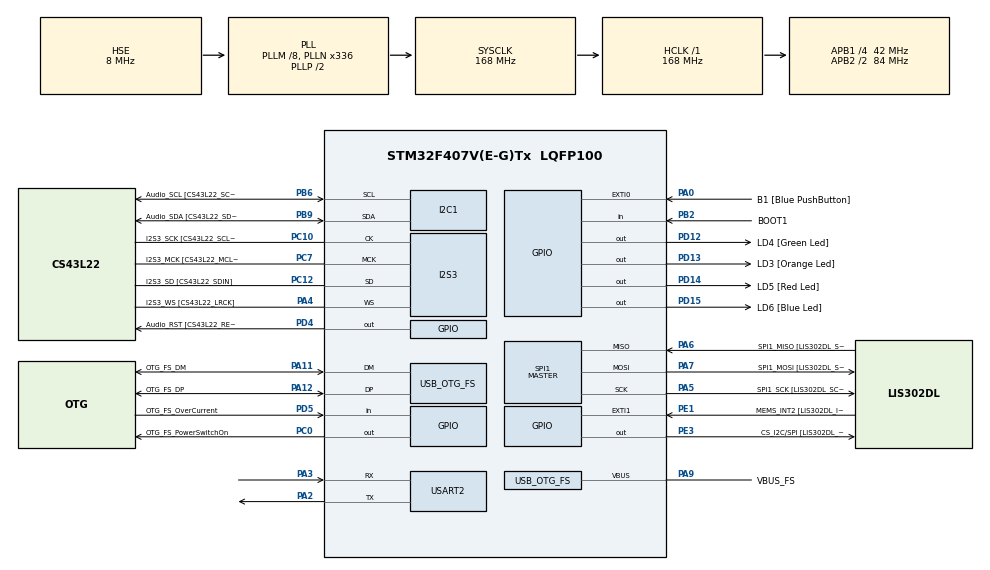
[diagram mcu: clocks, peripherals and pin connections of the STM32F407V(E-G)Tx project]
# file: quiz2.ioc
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FREERTOS.BinarySemaphores01=myBinarySem01,Dynamic,NULL
FREERTOS.Tasks01=defaultTask,0,128,StartDefaultTask,Default,NULL
I2S3.AudioFreq-Half_Duplex_Master=I2S_AUDIOFREQ_96K
I2S3.ErrorAudioFreq=-2.34 %
I2S3.ErrorAudioFreq-Half_Duplex_Master=0.8 %
I2S3.FullDuplexMode=I2S_FULLDUPLEXMODE_DISABLE
I2S3.Instance=SPI$Index
I2S3.RealAudioFreq=93.75 KHz
I2S3.RealAudioFreq-Half_Duplex_Master=96.774 KHz
I2S3.VirtualMode=I2S_MODE_MASTER
Mcu.Family=STM32F4
Mcu.Name=STM32F407V(E-G)Tx
Mcu.Package=LQFP100
NVIC.OTG_FS_IRQn=true\:5\:0\:false\:false\:true\:true\:true\:true
NVIC.PriorityGroup=NVIC_PRIORITYGROUP_4
PA0-WKUP.GPIO_Label=B1 [Blue PushButton]
PA0-WKUP.GPIO_ModeDefaultEXTI=GPIO_MODE_EVT_RISING
PA0-WKUP.GPIO_PuPd=GPIO_NOPULL
PA0-WKUP.Signal=GPXTI0
PA10.GPIO_Label=OTG_FS_ID
PA10.GPIO_Mode=GPIO_MODE_AF_PP
PA10.GPIO_PuPd=GPIO_NOPULL
PA10.GPIO_Speed=GPIO_SPEED_FREQ_LOW
PA10.Signal=USB_OTG_FS_ID
PA11.GPIO_Label=OTG_FS_DM
PA11.GPIO_Mode=GPIO_MODE_AF_PP
PA11.GPIO_PuPd=GPIO_NOPULL
PA11.GPIO_Speed=GPIO_SPEED_FREQ_LOW
PA11.Mode=Host_Only
PA11.Signal=USB_OTG_FS_DM
PA12.GPIO_Label=OTG_FS_DP
PA12.GPIO_Mode=GPIO_MODE_AF_PP
PA12.GPIO_PuPd=GPIO_NOPULL
PA12.GPIO_Speed=GPIO_SPEED_FREQ_LOW
PA12.Mode=Host_Only
PA12.Signal=USB_OTG_FS_DP
PA13.GPIO_Label=SWDIO
PA13.Mode=Serial_Wire
PA13.Signal=SYS_JTMS-SWDIO
PA14.GPIO_Label=SWCLK
PA14.Mode=Serial_Wire
PA14.Signal=SYS_JTCK-SWCLK
PA2.Mode=Asynchronous
PA2.Signal=USART2_TX
PA3.Mode=Asynchronous
PA3.Signal=USART2_RX
PA4.GPIO_Label=I2S3_WS [CS43L22_LRCK]
PA4.GPIO_Mode=GPIO_MODE_AF_PP
PA4.GPIO_PuPd=GPIO_NOPULL
PA4.GPIO_Speed=GPIO_SPEED_FREQ_LOW
PA4.Mode=Half_Duplex_Master
PA4.Signal=I2S3_WS
PA5.GPIO_Label=SPI1_SCK [LIS302DL_SCL/SPC]
PA5.GPIO_Mode=GPIO_MODE_AF_PP
PA5.GPIO_PuPd=GPIO_NOPULL
PA5.GPIO_Speed=GPIO_SPEED_FREQ_LOW
PA5.Mode=Full_Duplex_Master
PA5.Signal=SPI1_SCK
PA6.GPIO_Label=SPI1_MISO [LIS302DL_SDO]
PA6.GPIO_Mode=GPIO_MODE_AF_PP
PA6.GPIO_PuPd=GPIO_NOPULL
PA6.GPIO_Speed=GPIO_SPEED_FREQ_LOW
PA6.Mode=Full_Duplex_Master
PA6.Signal=SPI1_MISO
PA7.GPIO_Label=SPI1_MOSI [LIS302DL_SDA/SDI/SDO]
PA7.GPIO_Mode=GPIO_MODE_AF_PP
PA7.GPIO_PuPd=GPIO_NOPULL
PA7.GPIO_Speed=GPIO_SPEED_FREQ_LOW
PA7.Mode=Full_Duplex_Master
PA7.Signal=SPI1_MOSI
PA9.GPIO_Label=VBUS_FS
PA9.GPIO_Mode=GPIO_MODE_INPUT
PA9.GPIO_PuPd=GPIO_NOPULL
PA9.Mode=Activate_VBUS
PA9.Signal=USB_OTG_FS_VBUS
PB10.GPIO_Label=CLK_IN [MP45DT02_CLK]
PB10.GPIO_Mode=GPIO_MODE_AF_PP
PB10.GPIO_PuPd=GPIO_NOPULL
PB10.GPIO_Speed=GPIO_SPEED_FREQ_LOW
PB10.Signal=I2S2_CK
PB2.GPIO_Label=BOOT1
PB2.GPIO_Mode=GPIO_MODE_INPUT
PB2.GPIO_PuPd=GPIO_NOPULL
PB2.Signal=GPIO_Input
PB3.GPIO_Label=SWO
PB3.Signal=SYS_JTDO-SWO
PB6.GPIO_Label=Audio_SCL [CS43L22_SCL]
PB6.GPIO_Mode=GPIO_MODE_AF_OD
PB6.GPIO_PuPd=GPIO_NOPULL
PB6.GPIO_Speed=GPIO_SPEED_FREQ_LOW
PB6.Mode=I2C
PB6.Signal=I2C1_SCL
PB9.GPIO_Label=Audio_SDA [CS43L22_SDA]
PB9.GPIO_Mode=GPIO_MODE_AF_OD
PB9.GPIO_PuPd=GPIO_NOPULL
PB9.GPIO_Speed=GPIO_SPEED_FREQ_LOW
PB9.Mode=I2C
PB9.Signal=I2C1_SDA
PC0.GPIO_Label=OTG_FS_PowerSwitchOn
PC0.GPIO_PuPd=GPIO_NOPULL
PC0.GPIO_Speed=GPIO_SPEED_FREQ_LOW
PC0.PinState=GPIO_PIN_SET
PC0.Signal=GPIO_Output
PC10.GPIO_Label=I2S3_SCK [CS43L22_SCLK]
PC10.GPIO_Mode=GPIO_MODE_AF_PP
PC10.GPIO_PuPd=GPIO_NOPULL
PC10.GPIO_Speed=GPIO_SPEED_FREQ_LOW
PC10.Mode=Half_Duplex_Master
PC10.Signal=I2S3_CK
PC12.GPIO_Label=I2S3_SD [CS43L22_SDIN]
PC12.GPIO_Mode=GPIO_MODE_AF_PP
PC12.GPIO_PuPd=GPIO_NOPULL
PC12.GPIO_Speed=GPIO_SPEED_FREQ_LOW
PC12.Mode=Half_Duplex_Master
PC12.Signal=I2S3_SD
PC14-OSC32_IN.GPIO_Label=PC14-OSC32_IN
PC14-OSC32_IN.Mode=LSE-External-Oscillator
PC14-OSC32_IN.Signal=RCC_OSC32_IN
PC15-OSC32_OUT.GPIO_Label=PC15-OSC32_OUT
PC15-OSC32_OUT.Mode=LSE-External-Oscillator
PC15-OSC32_OUT.Signal=RCC_OSC32_OUT
PC3.GPIO_Label=PDM_OUT [MP45DT02_DOUT]
PC3.GPIO_Mode=GPIO_MODE_AF_PP
PC3.GPIO_PuPd=GPIO_NOPULL
PC3.GPIO_Speed=GPIO_SPEED_FREQ_LOW
PC3.Signal=I2S2_SD
PC7.GPIO_Label=I2S3_MCK [CS43L22_MCLK]
PC7.GPIO_Mode=GPIO_MODE_AF_PP
PC7.GPIO_PuPd=GPIO_NOPULL
PC7.GPIO_Speed=GPIO_SPEED_FREQ_LOW
PC7.Mode=Master_Clock_Activated
PC7.Signal=I2S3_MCK
PD12.GPIO_Label=LD4 [Green Led]
PD12.GPIO_PuPd=GPIO_NOPULL
PD12.GPIO_Speed=GPIO_SPEED_FREQ_LOW
PD12.Signal=GPIO_Output
PD13.GPIO_Label=LD3 [Orange Led]
PD13.GPIO_PuPd=GPIO_NOPULL
PD13.GPIO_Speed=GPIO_SPEED_FREQ_LOW
PD13.Signal=GPIO_Output
PD14.GPIO_Label=LD5 [Red Led]
PD14.GPIO_PuPd=GPIO_NOPULL
PD14.GPIO_Speed=GPIO_SPEED_FREQ_LOW
PD14.Signal=GPIO_Output
PD15.GPIO_Label=LD6 [Blue Led]
PD15.GPIO_PuPd=GPIO_NOPULL
PD15.GPIO_Speed=GPIO_SPEED_FREQ_LOW
PD15.Signal=GPIO_Output
PD4.GPIO_Label=Audio_RST [CS43L22_RESET]
PD4.GPIO_PuPd=GPIO_NOPULL
PD4.GPIO_Speed=GPIO_SPEED_FREQ_LOW
PD4.Signal=GPIO_Output
PD5.GPIO_Label=OTG_FS_OverCurrent
PD5.GPIO_Mode=GPIO_MODE_INPUT
PD5.GPIO_PuPd=GPIO_NOPULL
PD5.Signal=GPIO_Input
PE1.GPIO_Label=MEMS_INT2 [LIS302DL_INT2]
PE1.GPIO_ModeDefaultEXTI=GPIO_MODE_EVT_RISING
PE1.GPIO_PuPd=GPIO_NOPULL
PE1.Signal=GPXTI1
PE3.GPIO_Label=CS_I2C/SPI [LIS302DL_CS_I2C/SPI]
PE3.GPIO_PuPd=GPIO_NOPULL
PE3.GPIO_Speed=GPIO_SPEED_FREQ_LOW
PE3.Signal=GPIO_Output
PH0-OSC_IN.GPIO_Label=PH0-OSC_IN
PH0-OSC_IN.Mode=HSE-External-Oscillator
PH0-OSC_IN.Signal=RCC_OSC_IN
PH1-OSC_OUT.GPIO_Label=PH1-OSC_OUT
PH1-OSC_OUT.Mode=HSE-External-Oscillator
PH1-OSC_OUT.Signal=RCC_OSC_OUT
ProjectManager.HeapSize=0x200
ProjectManager.StackSize=0x400
ProjectManager.TargetToolchain=STM32CubeIDE
RCC.48MHZClocksFreq_Value=48000000
RCC.AHBFreq_Value=168000000
RCC.APB1CLKDivider=RCC_HCLK_DIV4
RCC.APB1Freq_Value=42000000
RCC.APB1TimFreq_Value=84000000
RCC.APB2CLKDivider=RCC_HCLK_DIV2
RCC.APB2Freq_Value=84000000
RCC.APB2TimFreq_Value=168000000
RCC.CortexFreq_Value=168000000
RCC.HCLKFreq_Value=168000000
RCC.HSE_VALUE=8000000
RCC.HSI_VALUE=16000000
RCC.PLLM=8
RCC.PLLN=336
RCC.PLLQ=7
RCC.SYSCLKFreq_VALUE=168000000
RCC.SYSCLKSource=RCC_SYSCLKSOURCE_PLLCLK
RCC.VCOOutputFreq_Value=336000000
SPI1.BaudRatePrescaler-Full_Duplex_Master=SPI_BAUDRATEPRESCALER_2
SPI1.CalculateBaudRate-Full_Duplex_Master=42.0 MBits/s
SPI1.Direction=SPI_DIRECTION_2LINES
SPI1.Mode=SPI_MODE_MASTER
SPI1.Mode-Full_Duplex_Master=SPI_MODE_MASTER
SPI1.VirtualType=VM_MASTER
USART2.VirtualMode=VM_ASYNC
USB_HOST.BSP.number=1
USB_HOST.USBH_HandleTypeDef-CDC_FS=hUsbHostFS
USB_HOST.USBH_USE_OS-CDC_FS=0
USB_HOST.VirtualModeFS=Cdc
USB_HOST0.BSP.STBoard=false
USB_HOST0.BSP.api=Unknown
USB_HOST0.BSP.i2caddr=0
USB_HOST0.BSP.i2creg=0
USB_HOST0.BSP.instance=PC0
USB_HOST0.BSP.ip=GPIO
USB_HOST0.BSP.mode=Output
USB_HOST0.BSP.name=Drive_VBUS_FS
USB_HOST0.BSP.solution=PC0
USB_OTG_FS.VirtualMode=Host_Only
USB_OTG_FS.phy_itface=HCD_PHY_EMBEDDED
VP_FREERTOS_VS_CMSIS_V1.Mode=CMSIS_V1
VP_USB_HOST_VS_USB_HOST_CDC_FS.Mode=CDC_FS
board=STM32F4DISCOVERY

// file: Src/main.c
/* USER CODE BEGIN Header */
/**
  ******************************************************************************
  * @file           : main.c
  * @brief          : Main program body
  ******************************************************************************
  * @attention
  *
  * <h2><center>&copy; Copyright (c) 2019 STMicroelectronics.
  * All rights reserved.</center></h2>
  *
  * This software component is licensed by ST under Ultimate Liberty license
  * SLA0044, the "License"; You may not use this file except in compliance with
  * the License. You may obtain a copy of the License at:
  *                             www.st.com/SLA0044
  *
  ******************************************************************************
  */
/* USER CODE END Header */

#include "main.h"
#include "cmsis_os.h"
#include "usb_host.h"

I2C_HandleTypeDef hi2c1;

I2S_HandleTypeDef hi2s3;

SPI_HandleTypeDef hspi1;

UART_HandleTypeDef huart2;

osThreadId defaultTaskHandle;
osSemaphoreId myBinarySem01Handle;

void SystemClock_Config(void);
static void MX_GPIO_Init(void);
static void MX_I2C1_Init(void);
static void MX_I2S3_Init(void);
static void MX_SPI1_Init(void);
static void MX_USART2_UART_Init(void);
void StartDefaultTask1(void const * argument);
void StartDefaultTask2(void const * argument);

int main(void)
{

  /* MCU Configuration--------------------------------------------------------*/

  /* Reset of all peripherals, Initializes the Flash interface and the Systick. */
  HAL_Init();

  /* Configure the system clock */
  SystemClock_Config();

  /* Initialize all configured peripherals */
  MX_GPIO_Init();
  MX_I2C1_Init();
  MX_I2S3_Init();
  MX_SPI1_Init();
  MX_USART2_UART_Init();

  /* Create the semaphores(s) */
  /* definition and creation of myBinarySem01 */
  osSemaphoreDef(myBinarySem01);
  myBinarySem01Handle = osSemaphoreCreate(osSemaphore(myBinarySem01), 1);

  /* Create the thread(s) */
  /* definition and creation of defaultTask */
  osThreadDef(defaultTask1, StartDefaultTask1, osPriorityNormal, 0, 128);
  defaultTaskHandle = osThreadCreate(osThread(defaultTask1), NULL);

  osThreadDef(defaultTask2, StartDefaultTask2, osPriorityNormal, 0, 128);
    defaultTaskHandle = osThreadCreate(osThread(defaultTask2), NULL);

  /* Start scheduler */
  osKernelStart();

  /* We should never get here as control is now taken by the scheduler */

  /* Infinite loop */
  while (1)
  {

  }
}

void SystemClock_Config(void)
{
  RCC_OscInitTypeDef RCC_OscInitStruct = {0};
  RCC_ClkInitTypeDef RCC_ClkInitStruct = {0};
  RCC_PeriphCLKInitTypeDef PeriphClkInitStruct = {0};

  /** Configure the main internal regulator output voltage
  */
  __HAL_RCC_PWR_CLK_ENABLE();
  __HAL_PWR_VOLTAGESCALING_CONFIG(PWR_REGULATOR_VOLTAGE_SCALE1);
  /** Initializes the CPU, AHB and APB busses clocks
  */
  RCC_OscInitStruct.OscillatorType = RCC_OSCILLATORTYPE_HSE;
  RCC_OscInitStruct.HSEState = RCC_HSE_ON;
  RCC_OscInitStruct.PLL.PLLState = RCC_PLL_ON;
  RCC_OscInitStruct.PLL.PLLSource = RCC_PLLSOURCE_HSE;
  RCC_OscInitStruct.PLL.PLLM = 8;
  RCC_OscInitStruct.PLL.PLLN = 336;
  RCC_OscInitStruct.PLL.PLLP = RCC_PLLP_DIV2;
  RCC_OscInitStruct.PLL.PLLQ = 7;
  if (HAL_RCC_OscConfig(&RCC_OscInitStruct) != HAL_OK)
  {
    Error_Handler();
  }
  /** Initializes the CPU, AHB and APB busses clocks
  */
  RCC_ClkInitStruct.ClockType = RCC_CLOCKTYPE_HCLK|RCC_CLOCKTYPE_SYSCLK
                              |RCC_CLOCKTYPE_PCLK1|RCC_CLOCKTYPE_PCLK2;
  RCC_ClkInitStruct.SYSCLKSource = RCC_SYSCLKSOURCE_PLLCLK;
  RCC_ClkInitStruct.AHBCLKDivider = RCC_SYSCLK_DIV1;
  RCC_ClkInitStruct.APB1CLKDivider = RCC_HCLK_DIV4;
  RCC_ClkInitStruct.APB2CLKDivider = RCC_HCLK_DIV2;

  if (HAL_RCC_ClockConfig(&RCC_ClkInitStruct, FLASH_LATENCY_5) != HAL_OK)
  {
    Error_Handler();
  }
  PeriphClkInitStruct.PeriphClockSelection = RCC_PERIPHCLK_I2S;
  PeriphClkInitStruct.PLLI2S.PLLI2SN = 192;
  PeriphClkInitStruct.PLLI2S.PLLI2SR = 2;
  if (HAL_RCCEx_PeriphCLKConfig(&PeriphClkInitStruct) != HAL_OK)
  {
    Error_Handler();
  }
}

static void MX_I2C1_Init(void)
{

  hi2c1.Instance = I2C1;
  hi2c1.Init.ClockSpeed = 100000;
  hi2c1.Init.DutyCycle = I2C_DUTYCYCLE_2;
  hi2c1.Init.OwnAddress1 = 0;
  hi2c1.Init.AddressingMode = I2C_ADDRESSINGMODE_7BIT;
  hi2c1.Init.DualAddressMode = I2C_DUALADDRESS_DISABLE;
  hi2c1.Init.OwnAddress2 = 0;
  hi2c1.Init.GeneralCallMode = I2C_GENERALCALL_DISABLE;
  hi2c1.Init.NoStretchMode = I2C_NOSTRETCH_DISABLE;
  if (HAL_I2C_Init(&hi2c1) != HAL_OK)
  {
    Error_Handler();
  }

}

static void MX_I2S3_Init(void)
{

  hi2s3.Instance = SPI3;
  hi2s3.Init.Mode = I2S_MODE_MASTER_TX;
  hi2s3.Init.Standard = I2S_STANDARD_PHILIPS;
  hi2s3.Init.DataFormat = I2S_DATAFORMAT_16B;
  hi2s3.Init.MCLKOutput = I2S_MCLKOUTPUT_ENABLE;
  hi2s3.Init.AudioFreq = I2S_AUDIOFREQ_96K;
  hi2s3.Init.CPOL = I2S_CPOL_LOW;
  hi2s3.Init.ClockSource = I2S_CLOCK_PLL;
  hi2s3.Init.FullDuplexMode = I2S_FULLDUPLEXMODE_DISABLE;
  if (HAL_I2S_Init(&hi2s3) != HAL_OK)
  {
    Error_Handler();
  }

}

static void MX_SPI1_Init(void)
{

  /* SPI1 parameter configuration*/
  hspi1.Instance = SPI1;
  hspi1.Init.Mode = SPI_MODE_MASTER;
  hspi1.Init.Direction = SPI_DIRECTION_2LINES;
  hspi1.Init.DataSize = SPI_DATASIZE_8BIT;
  hspi1.Init.CLKPolarity = SPI_POLARITY_LOW;
  hspi1.Init.CLKPhase = SPI_PHASE_1EDGE;
  hspi1.Init.NSS = SPI_NSS_SOFT;
  hspi1.Init.BaudRatePrescaler = SPI_BAUDRATEPRESCALER_2;
  hspi1.Init.FirstBit = SPI_FIRSTBIT_MSB;
  hspi1.Init.TIMode = SPI_TIMODE_DISABLE;
  hspi1.Init.CRCCalculation = SPI_CRCCALCULATION_DISABLE;
  hspi1.Init.CRCPolynomial = 10;
  if (HAL_SPI_Init(&hspi1) != HAL_OK)
  {
    Error_Handler();
  }

}

static void MX_USART2_UART_Init(void)
{

  huart2.Instance = USART2;
  huart2.Init.BaudRate = 115200;
  huart2.Init.WordLength = UART_WORDLENGTH_8B;
  huart2.Init.StopBits = UART_STOPBITS_1;
  huart2.Init.Parity = UART_PARITY_NONE;
  huart2.Init.Mode = UART_MODE_TX_RX;
  huart2.Init.HwFlowCtl = UART_HWCONTROL_NONE;
  huart2.Init.OverSampling = UART_OVERSAMPLING_16;
  if (HAL_UART_Init(&huart2) != HAL_OK)
  {
    Error_Handler();
  }

}

static void MX_GPIO_Init(void)
{
  GPIO_InitTypeDef GPIO_InitStruct = {0};

  /* GPIO Ports Clock Enable */
  __HAL_RCC_GPIOE_CLK_ENABLE();
  __HAL_RCC_GPIOC_CLK_ENABLE();
  __HAL_RCC_GPIOH_CLK_ENABLE();
  __HAL_RCC_GPIOA_CLK_ENABLE();
  __HAL_RCC_GPIOB_CLK_ENABLE();
  __HAL_RCC_GPIOD_CLK_ENABLE();

  /*Configure GPIO pin Output Level */
  HAL_GPIO_WritePin(CS_I2C_SPI_GPIO_Port, CS_I2C_SPI_Pin, GPIO_PIN_RESET);

  /*Configure GPIO pin Output Level */
  HAL_GPIO_WritePin(OTG_FS_PowerSwitchOn_GPIO_Port, OTG_FS_PowerSwitchOn_Pin, GPIO_PIN_SET);

  /*Configure GPIO pin Output Level */
  HAL_GPIO_WritePin(GPIOD, LD4_Pin|LD3_Pin|LD5_Pin|LD6_Pin
                          |Audio_RST_Pin, GPIO_PIN_RESET);

  /*Configure GPIO pin : CS_I2C_SPI_Pin */
  GPIO_InitStruct.Pin = CS_I2C_SPI_Pin;
  GPIO_InitStruct.Mode = GPIO_MODE_OUTPUT_PP;
  GPIO_InitStruct.Pull = GPIO_NOPULL;
  GPIO_InitStruct.Speed = GPIO_SPEED_FREQ_LOW;
  HAL_GPIO_Init(CS_I2C_SPI_GPIO_Port, &GPIO_InitStruct);

  /*Configure GPIO pin : OTG_FS_PowerSwitchOn_Pin */
  GPIO_InitStruct.Pin = OTG_FS_PowerSwitchOn_Pin;
  GPIO_InitStruct.Mode = GPIO_MODE_OUTPUT_PP;
  GPIO_InitStruct.Pull = GPIO_NOPULL;
  GPIO_InitStruct.Speed = GPIO_SPEED_FREQ_LOW;
  HAL_GPIO_Init(OTG_FS_PowerSwitchOn_GPIO_Port, &GPIO_InitStruct);

  /*Configure GPIO pin : PDM_OUT_Pin */
  GPIO_InitStruct.Pin = PDM_OUT_Pin;
  GPIO_InitStruct.Mode = GPIO_MODE_AF_PP;
  GPIO_InitStruct.Pull = GPIO_NOPULL;
  GPIO_InitStruct.Speed = GPIO_SPEED_FREQ_LOW;
  GPIO_InitStruct.Alternate = GPIO_AF5_SPI2;
  HAL_GPIO_Init(PDM_OUT_GPIO_Port, &GPIO_InitStruct);

  /*Configure GPIO pin : B1_Pin */
  GPIO_InitStruct.Pin = B1_Pin;
  GPIO_InitStruct.Mode = GPIO_MODE_EVT_RISING;
  GPIO_InitStruct.Pull = GPIO_NOPULL;
  HAL_GPIO_Init(B1_GPIO_Port, &GPIO_InitStruct);

  /*Configure GPIO pin : BOOT1_Pin */
  GPIO_InitStruct.Pin = BOOT1_Pin;
  GPIO_InitStruct.Mode = GPIO_MODE_INPUT;
  GPIO_InitStruct.Pull = GPIO_NOPULL;
  HAL_GPIO_Init(BOOT1_GPIO_Port, &GPIO_InitStruct);

  /*Configure GPIO pin : CLK_IN_Pin */
  GPIO_InitStruct.Pin = CLK_IN_Pin;
  GPIO_InitStruct.Mode = GPIO_MODE_AF_PP;
  GPIO_InitStruct.Pull = GPIO_NOPULL;
  GPIO_InitStruct.Speed = GPIO_SPEED_FREQ_LOW;
  GPIO_InitStruct.Alternate = GPIO_AF5_SPI2;
  HAL_GPIO_Init(CLK_IN_GPIO_Port, &GPIO_InitStruct);

  /*Configure GPIO pins : LD4_Pin LD3_Pin LD5_Pin LD6_Pin
                           Audio_RST_Pin */
  GPIO_InitStruct.Pin = LD4_Pin|LD3_Pin|LD5_Pin|LD6_Pin
                          |Audio_RST_Pin;
  GPIO_InitStruct.Mode = GPIO_MODE_OUTPUT_PP;
  GPIO_InitStruct.Pull = GPIO_NOPULL;
  GPIO_InitStruct.Speed = GPIO_SPEED_FREQ_LOW;
  HAL_GPIO_Init(GPIOD, &GPIO_InitStruct);

  /*Configure GPIO pin : OTG_FS_OverCurrent_Pin */
  GPIO_InitStruct.Pin = OTG_FS_OverCurrent_Pin;
  GPIO_InitStruct.Mode = GPIO_MODE_INPUT;
  GPIO_InitStruct.Pull = GPIO_NOPULL;
  HAL_GPIO_Init(OTG_FS_OverCurrent_GPIO_Port, &GPIO_InitStruct);

  /*Configure GPIO pin : MEMS_INT2_Pin */
  GPIO_InitStruct.Pin = MEMS_INT2_Pin;
  GPIO_InitStruct.Mode = GPIO_MODE_EVT_RISING;
  GPIO_InitStruct.Pull = GPIO_NOPULL;
  HAL_GPIO_Init(MEMS_INT2_GPIO_Port, &GPIO_InitStruct);

}

/* USER CODE BEGIN 4 */

int red = 0;
int green = 0;

/* USER CODE END 4 */

void StartDefaultTask1(void const * argument)
{

    char b[1];
    char d[5];
    char b1[20] = "HELLO\r\n";
    char b2[20] = "WORLD\r\n";

    int st = 0;
    int isPress = 0;
    int cnt = 0;

  /* init code for USB_HOST */
  MX_USB_HOST_Init();

  /* USER CODE BEGIN 5 */
  /* Infinite loop */
  for(;;)
  {

	  if(HAL_GPIO_ReadPin(GPIOA, GPIO_PIN_0)) {
	  		  if(isPress == 0) {
	  			  isPress = 1;
	  			  st = !st;
	  		  }
	  	  } else {
	  		  isPress = 0;
	  	  }

	  	  //osSemaphoreWait(myBinarySem01Handle, osWaitForever);

	  	  if(st == 0) {
	  		  if(cnt %1000 == 0) {
	  			  HAL_UART_Transmit(&huart2, b1, sizeof(b1), 1000);
	  		  }
	  	  } else if (st == 1){
	  		  if(cnt%500==0) {
	  			  HAL_UART_Transmit(&huart2, b2, sizeof(b2), 1000);
	  		  }
	  	  }

	  	  //osSemaphoreRelease(myBinarySem01Handle);
	  	 // osThreadYield();

	  if(HAL_UART_Receive(&huart2, b, sizeof(b), 1) == HAL_OK) {
		  //osSemaphoreWait(myBinarySem01Handle, osWaitForever);
		  if(b[0] == '1') red = !red;
		  else if(b[0] == '2') green = !green;
	  }

	  //osSemaphoreRelease(myBinarySem01Handle);
	  //osThreadYield();
	  osDelay(50);
	  cnt += 50;
  }
  /* USER CODE END 5 */
}

void StartDefaultTask2(void const * argument)
{

  /* init code for USB_HOST */
  MX_USB_HOST_Init();

  /* USER CODE BEGIN 5 */
  /* Infinite loop */
  for(;;)
  {

	  if(red == 0) {
		  HAL_GPIO_TogglePin(GPIOD, GPIO_PIN_12);
	  } else if(red == 1) {
		  HAL_GPIO_WritePin(GPIOD, GPIO_PIN_12, 0);
	  }

	  if (green == 0) {
		  HAL_GPIO_TogglePin(GPIOD, GPIO_PIN_14);
	  } else if (green == 1) {
		  HAL_GPIO_WritePin(GPIOD, GPIO_PIN_14, 0);
	  }

    osDelay(50);
  }
  /* USER CODE END 5 */
}

void Error_Handler(void)
{
}

/************************ (C) COPYRIGHT STMicroelectronics *****END OF FILE****/
